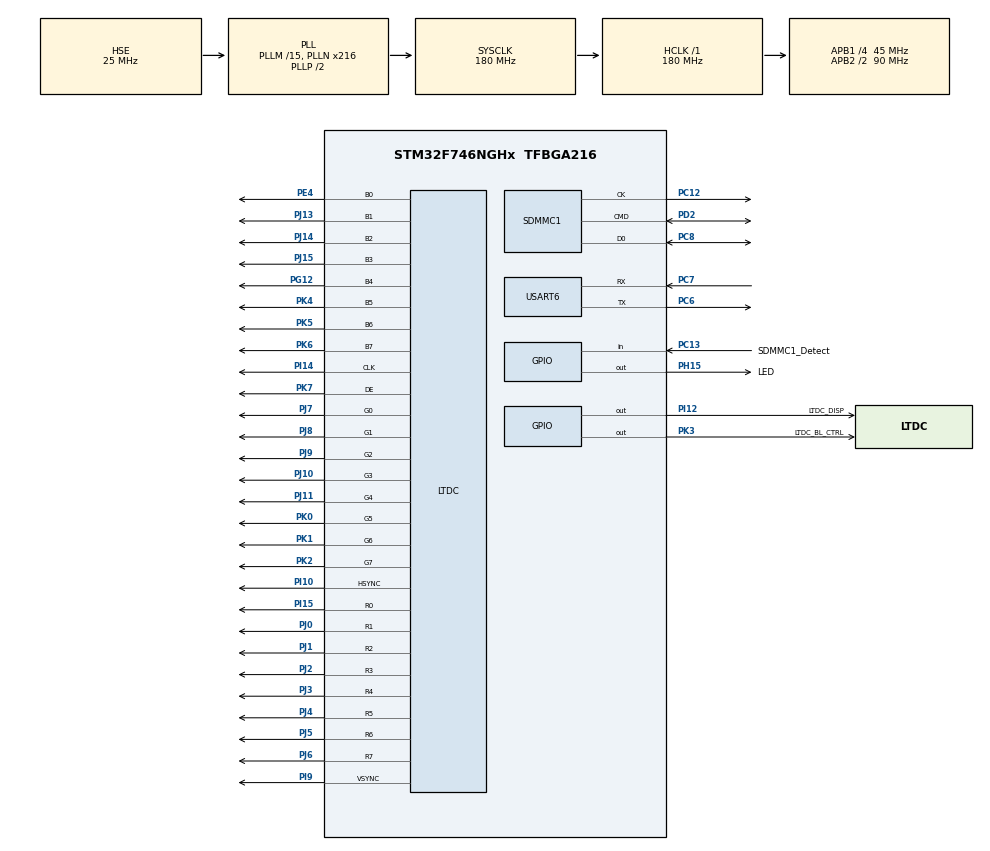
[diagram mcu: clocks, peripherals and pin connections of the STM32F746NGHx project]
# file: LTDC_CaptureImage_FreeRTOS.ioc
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Dma.Request0=SDMMC1_RX
Dma.Request1=SDMMC1_TX
Dma.SDMMC1_RX.0.Direction=DMA_PERIPH_TO_MEMORY
Dma.SDMMC1_RX.0.FIFOMode=DMA_FIFOMODE_ENABLE
Dma.SDMMC1_RX.0.FIFOThreshold=DMA_FIFO_THRESHOLD_FULL
Dma.SDMMC1_RX.0.Instance=DMA2_Stream3
Dma.SDMMC1_RX.0.MemBurst=DMA_MBURST_INC4
Dma.SDMMC1_RX.0.MemDataAlignment=DMA_MDATAALIGN_WORD
Dma.SDMMC1_RX.0.MemInc=DMA_MINC_ENABLE
Dma.SDMMC1_RX.0.Mode=DMA_PFCTRL
Dma.SDMMC1_RX.0.PeriphBurst=DMA_PBURST_INC4
Dma.SDMMC1_RX.0.PeriphDataAlignment=DMA_PDATAALIGN_WORD
Dma.SDMMC1_RX.0.PeriphInc=DMA_PINC_DISABLE
Dma.SDMMC1_RX.0.Priority=DMA_PRIORITY_LOW
Dma.SDMMC1_TX.1.Direction=DMA_MEMORY_TO_PERIPH
Dma.SDMMC1_TX.1.FIFOMode=DMA_FIFOMODE_ENABLE
Dma.SDMMC1_TX.1.FIFOThreshold=DMA_FIFO_THRESHOLD_FULL
Dma.SDMMC1_TX.1.Instance=DMA2_Stream6
Dma.SDMMC1_TX.1.MemBurst=DMA_MBURST_INC4
Dma.SDMMC1_TX.1.MemDataAlignment=DMA_MDATAALIGN_WORD
Dma.SDMMC1_TX.1.MemInc=DMA_MINC_ENABLE
Dma.SDMMC1_TX.1.Mode=DMA_PFCTRL
Dma.SDMMC1_TX.1.PeriphBurst=DMA_PBURST_INC4
Dma.SDMMC1_TX.1.PeriphDataAlignment=DMA_PDATAALIGN_WORD
Dma.SDMMC1_TX.1.PeriphInc=DMA_PINC_DISABLE
Dma.SDMMC1_TX.1.Priority=DMA_PRIORITY_LOW
FATFS.BSP.number=1
FATFS.USE_DMA_CODE_SD=1
FATFS._MAX_SS=4096
FATFS0.BSP.STBoard=false
FATFS0.BSP.api=Unknown
FATFS0.BSP.instance=PC13
FATFS0.BSP.ip=GPIO
FATFS0.BSP.mode=Input
FATFS0.BSP.name=Detect_SDIO
FATFS0.BSP.solution=PC13
FREERTOS.BinarySemaphores01=recDataSemaphore,Static,recDataSemaphoreControlBlock,Available
FREERTOS.Tasks01=defaultTask,-2,256,StartDefaultTask,Default,NULL,Static,defaultTaskBuffer,defaultTaskControlBlock;sdCardTask,0,1024,StartSdCardTask,Default,NULL,Static,sdCardTaskBuffer,sdCardTaskControlBlock;receiveDataTask,2,2048,StartReceiveDataTask,Default,NULL,Static,receiveDataTaskBuffer,receiveDataTaskControlBlock
FREERTOS.configTOTAL_HEAP_SIZE=5000
FREERTOS.configUSE_NEWLIB_REENTRANT=1
LTDC.ActiveH=272
LTDC.ActiveW=480
LTDC.Alpha_L0=255
LTDC.HBP=13
LTDC.HFP=32
LTDC.HSync=41
LTDC.ImageHeight_L0=272
LTDC.ImageWidth_L0=480
LTDC.Layers=0
LTDC.PixelFormat_L0=LTDC_PIXEL_FORMAT_RGB565
LTDC.VSync=10
LTDC.WindowX1_L0=480
LTDC.WindowY1_L0=272
Mcu.Family=STM32F7
Mcu.Name=STM32F746NGHx
Mcu.Package=TFBGA216
NVIC.DMA2_Stream3_IRQn=true\:5\:0\:true\:false\:true\:true\:false\:true\:true
NVIC.DMA2_Stream6_IRQn=true\:5\:0\:true\:false\:true\:true\:false\:true\:true
NVIC.PriorityGroup=NVIC_PRIORITYGROUP_4
NVIC.SDMMC1_IRQn=true\:5\:0\:true\:false\:true\:true\:true\:true\:true
NVIC.TIM8_TRG_COM_TIM14_IRQn=true\:15\:0\:false\:false\:true\:false\:false\:true\:true
NVIC.TimeBase=TIM8_TRG_COM_TIM14_IRQn
NVIC.TimeBaseIP=TIM14
NVIC.USART6_IRQn=true\:5\:0\:false\:false\:true\:true\:true\:true\:true
PA13.Mode=Serial_Wire
PA13.Signal=SYS_JTMS-SWDIO
PA14.Mode=Serial_Wire
PA14.Signal=SYS_JTCK-SWCLK
PC12.Mode=SD_1_bit
PC12.Signal=SDMMC1_CK
PC13.GPIO_Label=SDMMC1_Detect
PC13.Signal=GPIO_Input
PC6.Mode=Asynchronous
PC6.Signal=USART6_TX
PC7.Mode=Asynchronous
PC7.Signal=USART6_RX
PC8.Mode=SD_1_bit
PC8.Signal=SDMMC1_D0
PD2.Mode=SD_1_bit
PD2.Signal=SDMMC1_CMD
PE4.GPIO_Speed=GPIO_SPEED_FREQ_HIGH
PE4.Mode=RGB888
PE4.Signal=LTDC_B0
PG12.GPIO_Speed=GPIO_SPEED_FREQ_HIGH
PG12.Mode=RGB888
PG12.Signal=LTDC_B4
PH0/OSC_IN.Mode=HSE-External-Oscillator
PH0/OSC_IN.Signal=RCC_OSC_IN
PH1/OSC_OUT.Mode=HSE-External-Oscillator
PH1/OSC_OUT.Signal=RCC_OSC_OUT
PH15.GPIO_Label=LED
PH15.Signal=GPIO_Output
PI10.GPIO_Speed=GPIO_SPEED_FREQ_HIGH
PI10.Mode=RGB888
PI10.Signal=LTDC_HSYNC
PI12.GPIO_Label=LTDC_DISP
PI12.Signal=GPIO_Output
PI14.GPIO_Speed=GPIO_SPEED_FREQ_HIGH
PI14.Mode=RGB888
PI14.Signal=LTDC_CLK
PI15.GPIO_Speed=GPIO_SPEED_FREQ_HIGH
PI15.Mode=RGB888
PI15.Signal=LTDC_R0
PI9.GPIO_Speed=GPIO_SPEED_FREQ_HIGH
PI9.Mode=RGB888
PI9.Signal=LTDC_VSYNC
PJ0.GPIO_Speed=GPIO_SPEED_FREQ_HIGH
PJ0.Mode=RGB888
PJ0.Signal=LTDC_R1
PJ1.GPIO_Speed=GPIO_SPEED_FREQ_HIGH
PJ1.Mode=RGB888
PJ1.Signal=LTDC_R2
PJ10.Mode=RGB888
PJ10.Signal=LTDC_G3
PJ11.Mode=RGB888
PJ11.Signal=LTDC_G4
PJ13.Mode=RGB888
PJ13.Signal=LTDC_B1
PJ14.Mode=RGB888
PJ14.Signal=LTDC_B2
PJ15.Mode=RGB888
PJ15.Signal=LTDC_B3
PJ2.GPIO_Speed=GPIO_SPEED_FREQ_HIGH
PJ2.Mode=RGB888
PJ2.Signal=LTDC_R3
PJ3.GPIO_Speed=GPIO_SPEED_FREQ_HIGH
PJ3.Mode=RGB888
PJ3.Signal=LTDC_R4
PJ4.GPIO_Speed=GPIO_SPEED_FREQ_HIGH
PJ4.Mode=RGB888
PJ4.Signal=LTDC_R5
PJ5.GPIO_Speed=GPIO_SPEED_FREQ_HIGH
PJ5.Mode=RGB888
PJ5.Signal=LTDC_R6
PJ6.Mode=RGB888
PJ6.Signal=LTDC_R7
PJ7.Mode=RGB888
PJ7.Signal=LTDC_G0
PJ8.Mode=RGB888
PJ8.Signal=LTDC_G1
PJ9.Mode=RGB888
PJ9.Signal=LTDC_G2
PK0.Mode=RGB888
PK0.Signal=LTDC_G5
PK1.Mode=RGB888
PK1.Signal=LTDC_G6
PK2.Mode=RGB888
PK2.Signal=LTDC_G7
PK3.GPIO_Label=LTDC_BL_CTRL
PK3.Signal=GPIO_Output
PK4.Mode=RGB888
PK4.Signal=LTDC_B5
PK5.Mode=RGB888
PK5.Signal=LTDC_B6
PK6.Mode=RGB888
PK6.Signal=LTDC_B7
PK7.Mode=RGB888
PK7.Signal=LTDC_DE
ProjectManager.HeapSize=0x200
ProjectManager.StackSize=0x400
ProjectManager.TargetToolchain=STM32CubeIDE
RCC.AHBFreq_Value=180000000
RCC.APB1CLKDivider=RCC_HCLK_DIV4
RCC.APB1Freq_Value=45000000
RCC.APB1TimFreq_Value=90000000
RCC.APB2CLKDivider=RCC_HCLK_DIV2
RCC.APB2Freq_Value=90000000
RCC.APB2TimFreq_Value=180000000
RCC.CortexFreq_Value=180000000
RCC.HCLKFreq_Value=180000000
RCC.HSE_VALUE=25000000
RCC.HSI_VALUE=16000000
RCC.LSE_VALUE=32768
RCC.PLLM=15
RCC.PLLN=216
RCC.PLLQ=15
RCC.PLLSAIN=60
RCC.PLLSourceVirtual=RCC_PLLSOURCE_HSE
RCC.SDMMCClockSelection=RCC_SDMMC1CLKSOURCE_CLK48
RCC.SYSCLKFreq_VALUE=180000000
RCC.SYSCLKSource=RCC_SYSCLKSOURCE_PLLCLK
RCC.USBFreq_Value=24000000
RCC.VCOOutputFreq_Value=360000000
USART6.VirtualMode-Asynchronous=VM_ASYNC
VP_FATFS_VS_SDIO.Mode=SDIO
VP_FREERTOS_VS_CMSIS_V1.Mode=CMSIS_V1
VP_SYS_VS_tim14.Mode=TIM14
board=custom

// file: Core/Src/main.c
/* USER CODE BEGIN Header */
/**
  ******************************************************************************
  * @file           : main.c
  * @brief          : Main program body
  ******************************************************************************
  * @attention
  *
  * Copyright (c) 2025 STMicroelectronics.
  * All rights reserved.
  *
  * This software is licensed under terms that can be found in the LICENSE file
  * in the root directory of this software component.
  * If no LICENSE file comes with this software, it is provided AS-IS.
  *
  ******************************************************************************
  */
/* USER CODE END Header */
#include "main.h"
#include "cmsis_os.h"
#include "fatfs.h"

/* USER CODE BEGIN Includes */
#include "stdio.h"
//#include "SDCard_Configuration.h"
/* USER CODE END Includes */

/* USER CODE BEGIN PD */
#define ImageBufferSize 			30000
/* USER CODE END PD */

LTDC_HandleTypeDef hltdc;

SD_HandleTypeDef hsd1;
DMA_HandleTypeDef hdma_sdmmc1_rx;
DMA_HandleTypeDef hdma_sdmmc1_tx;

UART_HandleTypeDef huart6;

osThreadId defaultTaskHandle;
uint32_t defaultTaskBuffer[ 256 ];
osStaticThreadDef_t defaultTaskControlBlock;

osThreadId sdCardTaskHandle;
uint32_t sdCardTaskBuffer[ 1024 ];
osStaticThreadDef_t sdCardTaskControlBlock;

osThreadId receiveDataTaskHandle;
uint32_t receiveDataTaskBuffer[ 2048 ];
osStaticThreadDef_t receiveDataTaskControlBlock;

osSemaphoreId recDataSemaphoreHandle;
osStaticSemaphoreDef_t recDataSemaphoreControlBlock;
/* USER CODE BEGIN PV */
uint8_t recData = 0;
uint32_t recCount = 0;
uint32_t imageLen = 0;
uint32_t imageIndex = 0;
uint8_t recBuffer[ImageBufferSize];
uint8_t recordData[ImageBufferSize];

enum
{
	Wait_Marker,
	Wait_Length,
	Read_Image
}rxState = Wait_Marker;

//uint8_t marker[4];
//uint8_t markerIndex = 0;
//
//
//uint8_t lengthBytes[4];
//uint8_t lengthIndex = 0;
/* USER CODE END PV */

void SystemClock_Config(void);
static void MX_GPIO_Init(void);
static void MX_DMA_Init(void);
static void MX_LTDC_Init(void);
static void MX_SDMMC1_SD_Init(void);
static void MX_USART6_UART_Init(void);
void StartDefaultTask(void const * argument);
void StartSdCardTask(void const * argument);
void StartReceiveDataTask(void const * argument);

/* USER CODE BEGIN 0 */
int _write(int file, char *ptr, int len)
{
	int i = 0;
	for(i = 0; i < len; i++)
	{
		ITM_SendChar(*ptr++);
	}
	return len;
}
/* USER CODE END 0 */

int main(void)
{

  /* MCU Configuration--------------------------------------------------------*/

  /* Reset of all peripherals, Initializes the Flash interface and the Systick. */
  HAL_Init();

  /* Configure the system clock */
  SystemClock_Config();

  /* Initialize all configured peripherals */
  MX_GPIO_Init();
  MX_DMA_Init();
  MX_LTDC_Init();
  MX_SDMMC1_SD_Init();
  MX_FATFS_Init();
  MX_USART6_UART_Init();
  /* USER CODE BEGIN 2 */
  HAL_UART_Receive_IT(&huart6, &recData, 1);
  /* USER CODE END 2 */

  /* Create the semaphores(s) */
  /* definition and creation of recDataSemaphore */
  osSemaphoreStaticDef(recDataSemaphore, &recDataSemaphoreControlBlock);
  recDataSemaphoreHandle = osSemaphoreCreate(osSemaphore(recDataSemaphore), 1);

  /* Create the thread(s) */
  /* definition and creation of defaultTask */
  osThreadStaticDef(defaultTask, StartDefaultTask, osPriorityLow, 0, 256, defaultTaskBuffer, &defaultTaskControlBlock);
  defaultTaskHandle = osThreadCreate(osThread(defaultTask), NULL);

  /* definition and creation of sdCardTask */
  osThreadStaticDef(sdCardTask, StartSdCardTask, osPriorityNormal, 0, 1024, sdCardTaskBuffer, &sdCardTaskControlBlock);
  sdCardTaskHandle = osThreadCreate(osThread(sdCardTask), NULL);

  /* definition and creation of receiveDataTask */
  osThreadStaticDef(receiveDataTask, StartReceiveDataTask, osPriorityNormal, 0, 2048, receiveDataTaskBuffer, &receiveDataTaskControlBlock);
  receiveDataTaskHandle = osThreadCreate(osThread(receiveDataTask), NULL);

  /* Start scheduler */
  osKernelStart();

  /* We should never get here as control is now taken by the scheduler */

  /* Infinite loop */
  while (1)
  {

  }
}

void SystemClock_Config(void)
{
  RCC_OscInitTypeDef RCC_OscInitStruct = {0};
  RCC_ClkInitTypeDef RCC_ClkInitStruct = {0};

  /** Configure the main internal regulator output voltage
  */
  __HAL_RCC_PWR_CLK_ENABLE();
  __HAL_PWR_VOLTAGESCALING_CONFIG(PWR_REGULATOR_VOLTAGE_SCALE1);

  /** Initializes the RCC Oscillators according to the specified parameters
  * in the RCC_OscInitTypeDef structure.
  */
  RCC_OscInitStruct.OscillatorType = RCC_OSCILLATORTYPE_HSE;
  RCC_OscInitStruct.HSEState = RCC_HSE_ON;
  RCC_OscInitStruct.PLL.PLLState = RCC_PLL_ON;
  RCC_OscInitStruct.PLL.PLLSource = RCC_PLLSOURCE_HSE;
  RCC_OscInitStruct.PLL.PLLM = 15;
  RCC_OscInitStruct.PLL.PLLN = 216;
  RCC_OscInitStruct.PLL.PLLP = RCC_PLLP_DIV2;
  RCC_OscInitStruct.PLL.PLLQ = 15;
  if (HAL_RCC_OscConfig(&RCC_OscInitStruct) != HAL_OK)
  {
    Error_Handler();
  }

  /** Initializes the CPU, AHB and APB buses clocks
  */
  RCC_ClkInitStruct.ClockType = RCC_CLOCKTYPE_HCLK|RCC_CLOCKTYPE_SYSCLK
                              |RCC_CLOCKTYPE_PCLK1|RCC_CLOCKTYPE_PCLK2;
  RCC_ClkInitStruct.SYSCLKSource = RCC_SYSCLKSOURCE_PLLCLK;
  RCC_ClkInitStruct.AHBCLKDivider = RCC_SYSCLK_DIV1;
  RCC_ClkInitStruct.APB1CLKDivider = RCC_HCLK_DIV4;
  RCC_ClkInitStruct.APB2CLKDivider = RCC_HCLK_DIV2;

  if (HAL_RCC_ClockConfig(&RCC_ClkInitStruct, FLASH_LATENCY_5) != HAL_OK)
  {
    Error_Handler();
  }
}

static void MX_LTDC_Init(void)
{

  LTDC_LayerCfgTypeDef pLayerCfg = {0};

  hltdc.Instance = LTDC;
  hltdc.Init.HSPolarity = LTDC_HSPOLARITY_AL;
  hltdc.Init.VSPolarity = LTDC_VSPOLARITY_AL;
  hltdc.Init.DEPolarity = LTDC_DEPOLARITY_AL;
  hltdc.Init.PCPolarity = LTDC_PCPOLARITY_IPC;
  hltdc.Init.HorizontalSync = 40;
  hltdc.Init.VerticalSync = 9;
  hltdc.Init.AccumulatedHBP = 53;
  hltdc.Init.AccumulatedVBP = 11;
  hltdc.Init.AccumulatedActiveW = 533;
  hltdc.Init.AccumulatedActiveH = 283;
  hltdc.Init.TotalWidth = 565;
  hltdc.Init.TotalHeigh = 285;
  hltdc.Init.Backcolor.Blue = 0;
  hltdc.Init.Backcolor.Green = 0;
  hltdc.Init.Backcolor.Red = 0;
  if (HAL_LTDC_Init(&hltdc) != HAL_OK)
  {
    Error_Handler();
  }
  pLayerCfg.WindowX0 = 0;
  pLayerCfg.WindowX1 = 480;
  pLayerCfg.WindowY0 = 0;
  pLayerCfg.WindowY1 = 272;
  pLayerCfg.PixelFormat = LTDC_PIXEL_FORMAT_RGB565;
  pLayerCfg.Alpha = 255;
  pLayerCfg.Alpha0 = 0;
  pLayerCfg.BlendingFactor1 = LTDC_BLENDING_FACTOR1_CA;
  pLayerCfg.BlendingFactor2 = LTDC_BLENDING_FACTOR2_CA;
  pLayerCfg.FBStartAdress = 0;
  pLayerCfg.ImageWidth = 480;
  pLayerCfg.ImageHeight = 272;
  pLayerCfg.Backcolor.Blue = 0;
  pLayerCfg.Backcolor.Green = 0;
  pLayerCfg.Backcolor.Red = 0;
  if (HAL_LTDC_ConfigLayer(&hltdc, &pLayerCfg, 0) != HAL_OK)
  {
    Error_Handler();
  }

}

static void MX_SDMMC1_SD_Init(void)
{

  hsd1.Instance = SDMMC1;
  hsd1.Init.ClockEdge = SDMMC_CLOCK_EDGE_RISING;
  hsd1.Init.ClockBypass = SDMMC_CLOCK_BYPASS_DISABLE;
  hsd1.Init.ClockPowerSave = SDMMC_CLOCK_POWER_SAVE_DISABLE;
  hsd1.Init.BusWide = SDMMC_BUS_WIDE_1B;
  hsd1.Init.HardwareFlowControl = SDMMC_HARDWARE_FLOW_CONTROL_DISABLE;
  hsd1.Init.ClockDiv = 0;

}

static void MX_USART6_UART_Init(void)
{

  huart6.Instance = USART6;
  huart6.Init.BaudRate = 115200;
  huart6.Init.WordLength = UART_WORDLENGTH_8B;
  huart6.Init.StopBits = UART_STOPBITS_1;
  huart6.Init.Parity = UART_PARITY_NONE;
  huart6.Init.Mode = UART_MODE_TX_RX;
  huart6.Init.HwFlowCtl = UART_HWCONTROL_NONE;
  huart6.Init.OverSampling = UART_OVERSAMPLING_16;
  huart6.Init.OneBitSampling = UART_ONE_BIT_SAMPLE_DISABLE;
  huart6.AdvancedInit.AdvFeatureInit = UART_ADVFEATURE_NO_INIT;
  if (HAL_UART_Init(&huart6) != HAL_OK)
  {
    Error_Handler();
  }

}

static void MX_DMA_Init(void)
{

  /* DMA controller clock enable */
  __HAL_RCC_DMA2_CLK_ENABLE();

  /* DMA interrupt init */
  /* DMA2_Stream3_IRQn interrupt configuration */
  HAL_NVIC_SetPriority(DMA2_Stream3_IRQn, 5, 0);
  HAL_NVIC_EnableIRQ(DMA2_Stream3_IRQn);
  /* DMA2_Stream6_IRQn interrupt configuration */
  HAL_NVIC_SetPriority(DMA2_Stream6_IRQn, 5, 0);
  HAL_NVIC_EnableIRQ(DMA2_Stream6_IRQn);

}

static void MX_GPIO_Init(void)
{
  GPIO_InitTypeDef GPIO_InitStruct = {0};

  /* GPIO Ports Clock Enable */
  __HAL_RCC_GPIOE_CLK_ENABLE();
  __HAL_RCC_GPIOC_CLK_ENABLE();
  __HAL_RCC_GPIOA_CLK_ENABLE();
  __HAL_RCC_GPIOJ_CLK_ENABLE();
  __HAL_RCC_GPIOK_CLK_ENABLE();
  __HAL_RCC_GPIOG_CLK_ENABLE();
  __HAL_RCC_GPIOI_CLK_ENABLE();
  __HAL_RCC_GPIOD_CLK_ENABLE();
  __HAL_RCC_GPIOH_CLK_ENABLE();

  /*Configure GPIO pin Output Level */
  HAL_GPIO_WritePin(LTDC_BL_CTRL_GPIO_Port, LTDC_BL_CTRL_Pin, GPIO_PIN_RESET);

  /*Configure GPIO pin Output Level */
  HAL_GPIO_WritePin(LED_GPIO_Port, LED_Pin, GPIO_PIN_RESET);

  /*Configure GPIO pin Output Level */
  HAL_GPIO_WritePin(LTDC_DISP_GPIO_Port, LTDC_DISP_Pin, GPIO_PIN_RESET);

  /*Configure GPIO pin : SDMMC1_Detect_Pin */
  GPIO_InitStruct.Pin = SDMMC1_Detect_Pin;
  GPIO_InitStruct.Mode = GPIO_MODE_INPUT;
  GPIO_InitStruct.Pull = GPIO_NOPULL;
  HAL_GPIO_Init(SDMMC1_Detect_GPIO_Port, &GPIO_InitStruct);

  /*Configure GPIO pin : LTDC_BL_CTRL_Pin */
  GPIO_InitStruct.Pin = LTDC_BL_CTRL_Pin;
  GPIO_InitStruct.Mode = GPIO_MODE_OUTPUT_PP;
  GPIO_InitStruct.Pull = GPIO_NOPULL;
  GPIO_InitStruct.Speed = GPIO_SPEED_FREQ_LOW;
  HAL_GPIO_Init(LTDC_BL_CTRL_GPIO_Port, &GPIO_InitStruct);

  /*Configure GPIO pin : LED_Pin */
  GPIO_InitStruct.Pin = LED_Pin;
  GPIO_InitStruct.Mode = GPIO_MODE_OUTPUT_PP;
  GPIO_InitStruct.Pull = GPIO_NOPULL;
  GPIO_InitStruct.Speed = GPIO_SPEED_FREQ_LOW;
  HAL_GPIO_Init(LED_GPIO_Port, &GPIO_InitStruct);

  /*Configure GPIO pin : LTDC_DISP_Pin */
  GPIO_InitStruct.Pin = LTDC_DISP_Pin;
  GPIO_InitStruct.Mode = GPIO_MODE_OUTPUT_PP;
  GPIO_InitStruct.Pull = GPIO_NOPULL;
  GPIO_InitStruct.Speed = GPIO_SPEED_FREQ_LOW;
  HAL_GPIO_Init(LTDC_DISP_GPIO_Port, &GPIO_InitStruct);

}

/* USER CODE BEGIN 4 */
void HAL_UART_RxCpltCallback(UART_HandleTypeDef *huart)
{
//	BaseType_t xHigherPriorityTaskWoken = pdFALSE;

	if(HAL_UART_Receive_IT(&huart6, &recData, 1) == HAL_OK)
	{
		osSemaphoreRelease(recDataSemaphoreHandle);
//		recBuffer[recCount++] = recData;
//		switch(rxState)
//		{
//			case Wait_Marker:
//				if(recBuffer[0] == 'I' && recBuffer[1] == 'M' && recBuffer[2] == 'G' && recBuffer[3] == '0')
//				{
//					printf("marker was OK");
//					rxState = Wait_Length;
//				}
//				break;
//			case Wait_Length:
//				if(recCount >= 7)
//				{
//					imageLen = recBuffer[4] | (recBuffer[5] << 8) | (recBuffer[6] << 16) | (recBuffer[7] << 24);
//					rxState = Read_Image;
//				}
//				break;
//			case Read_Image:
//				if(recCount >= imageLen)
//				{
//					for(uint32_t i = 8; i <= imageLen; i++)
//					{
//						recordData[imageIndex++] = recBuffer[i];
//					}
//					osSemaphoreRelease(recDataSemaphore);
//					rxState = Wait_Marker;
//				}
//				break;
//		}
	}
//	if(xHigherPriorityTaskWoken)
//	{
//		taskYIELD();
//	}
}

/* USER CODE END 4 */

void StartDefaultTask(void const * argument)
{
  /* USER CODE BEGIN 5 */
  /* Infinite loop */
  for(;;)
  {
	  HAL_GPIO_TogglePin(LED_GPIO_Port, LED_Pin);
	  osDelay(1000);
  }
  /* USER CODE END 5 */
}

void StartSdCardTask(void const * argument)
{
  /* USER CODE BEGIN StartSdCardTask */
//	char sd_buffer[100];
//
//	Mount_SD(SDPath);
//
//	Format_SD();
//	Check_SD_Space();
//	Create_File("MRL.txt");
//	sprintf(sd_buffer, "Hello MRL-HSL \n");
//	Update_File("MRL.txt", sd_buffer);
//
//	Unmount_SD(SDPath);

  /* Infinite loop */
  for(;;)
  {
    osDelay(1);
  }
  /* USER CODE END StartSdCardTask */
}

void StartReceiveDataTask(void const * argument)
{
  /* USER CODE BEGIN StartReceiveDataTask */
  /* Infinite loop */
  for(;;)
  {
	  osSemaphoreWait(recDataSemaphoreHandle, osWaitForever);
	  recBuffer[recCount++] = recData;
	  switch(rxState)
	  {
	  	  case Wait_Marker:
	  		  if(recBuffer[0] == 'I' && recBuffer[1] == 'M' && recBuffer[2] == 'G' && recBuffer[3] == '0')
	  		  {
	  			  printf("marker was OK");
	  			  rxState = Wait_Length;
	  		  }
	  		  break;
		  case Wait_Length:
			  if(recCount >= 7)
			  {
				  imageLen = recBuffer[4] | (recBuffer[5] << 8) | (recBuffer[6] << 16) | (recBuffer[7] << 24);
				  rxState = Read_Image;
			  }
			  break;
		  case Read_Image:
			  if(recCount >= imageLen)
			  {
				  for(uint32_t i = 8; i <= imageLen; i++)
				  {
					  recordData[imageIndex++] = recBuffer[i];
				  }
				  rxState = Wait_Marker;
			  }
			  break;
	  }
	  osDelay(1);
  }
  /* USER CODE END StartReceiveDataTask */
}

void HAL_TIM_PeriodElapsedCallback(TIM_HandleTypeDef *htim)
{
  if (htim->Instance == TIM14)
  {
    HAL_IncTick();
  }
}

void Error_Handler(void)
{
  /* USER CODE BEGIN Error_Handler_Debug */
  /* User can add his own implementation to report the HAL error return state */
  __disable_irq();
  while (1)
  {
	  HAL_GPIO_WritePin(LED_GPIO_Port, LED_Pin, GPIO_PIN_SET);
  }
  /* USER CODE END Error_Handler_Debug */
}
